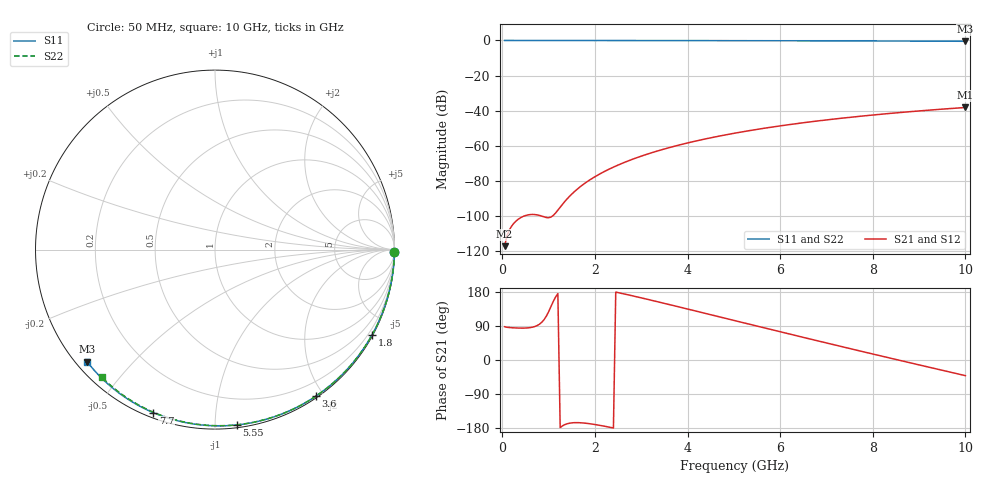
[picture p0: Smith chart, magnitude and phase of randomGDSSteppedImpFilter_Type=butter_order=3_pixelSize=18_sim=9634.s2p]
! freq	dB(S11)	phase(S11)	dB(S12)	phase(S12)
!  dB(S21)	phase(S21)	dB(S22)	phase(S22)
!S-par simulation data
#  GHz  S  DB  R 50
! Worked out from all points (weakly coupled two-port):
!   200 points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, 50 MHz to 10 GHz, reference 50 ohm
!   highest |S21| = -38.17 dB at 10 GHz (marker M1); lowest = -117.2 dB at 50 MHz (marker M2)
!   lowest |S11| = -0.5 dB at 10 GHz (marker M3), VSWR 37.00, Z = 1.54 - j18.8 ohm
!   |S11| at or under -10 dB: nowhere
!   |S22| runs from -0.4 to 0.0 dB; largest |S21 - S12| = 0
!   S11 on the Smith chart (normalised r, x): 50 MHz: open; 1.8 GHz: 0.03, -3.94; 3.6 GHz: 0.02, -1.90; 5.55 GHz: 0.02, -1.13; 7.7 GHz: 0.02, -0.69; 10 GHz: 0.03, -0.38
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0.05  -0.00 -0.8  -117.15 87.8  -117.15 87.8  -0.00 -0.8
0.45  -0.01 -7.2  -100.21 84.1  -100.21 84.1  -0.01 -6.8
0.9  -0.02 -14.4  -100.46 106.1  -100.46 106.1  -0.02 -13.6
1.75  -0.04 -27.7  -81.95 -166.2  -81.95 -166.2  -0.03 -26.2
1.8  -0.04 -28.5  -81.00 -166.8  -81.00 -166.8  -0.03 -26.9
1.85  -0.04 -29.2  -80.10 -167.5  -80.10 -167.5  -0.04 -27.7
2.15  -0.04 -33.8  -75.38 -173.4  -75.38 -173.4  -0.04 -32.1
2.35  -0.05 -36.9  -72.74 -178.2  -72.74 -178.2  -0.04 -35.0
2.55  -0.05 -39.9  -70.39 176.5  -70.39 176.5  -0.05 -37.8
2.95  -0.06 -46.0  -66.34 165.5  -66.34 165.5  -0.06 -43.6
3.4  -0.07 -52.6  -62.55 152.4  -62.55 152.4  -0.07 -49.9
3.6  -0.07 -55.6  -61.06 146.5  -61.06 146.5  -0.07 -52.7
3.9  -0.08 -59.9  -59.01 137.6  -59.01 137.6  -0.08 -56.8
4.3  -0.09 -65.6  -56.56 125.6  -56.56 125.6  -0.09 -62.2
5.05  -0.12 -76.1  -52.65 103.0  -52.65 103.0  -0.11 -72.2
5.55  -0.14 -82.9  -50.43 88.0  -50.43 88.0  -0.13 -78.7
6.1  -0.16 -90.2  -48.28 71.6  -48.28 71.6  -0.15 -85.6
6.7  -0.19 -98.0  -46.20 53.8  -46.20 53.8  -0.18 -93.1
7.7  -0.25 -110.7  -43.24 24.5  -43.24 24.5  -0.24 -105.1
8.35  -0.30 -118.7  -41.60 5.7  -41.60 5.7  -0.29 -112.7
9.2  -0.38 -129.0  -39.71 -18.6  -39.71 -18.6  -0.36 -122.4
10  -0.47 -138.7  -38.17 -41.3  -38.17 -41.3  -0.44 -131.5
